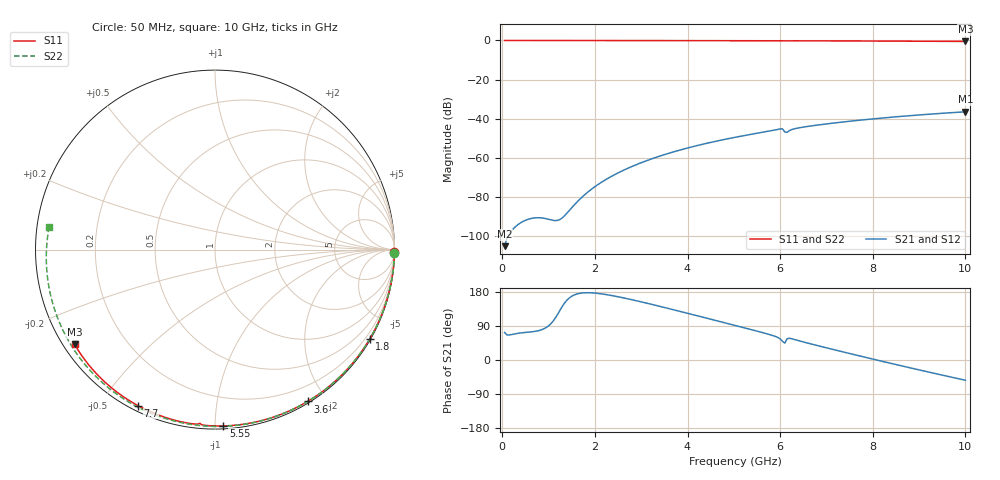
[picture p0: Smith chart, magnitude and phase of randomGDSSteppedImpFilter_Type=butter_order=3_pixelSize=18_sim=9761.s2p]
! freq	dB(S11)	phase(S11)	dB(S12)	phase(S12)
!  dB(S21)	phase(S21)	dB(S22)	phase(S22)
!S-par simulation data
#  GHz  S  DB  R 50
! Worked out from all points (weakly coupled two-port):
!   200 points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, 50 MHz to 10 GHz, reference 50 ohm
!   highest |S21| = -36.52 dB at 10 GHz (marker M1); lowest = -105.3 dB at 50 MHz (marker M2)
!   lowest |S11| = -0.5 dB at 10 GHz (marker M3), VSWR 34.58, Z = 1.58 - j15.3 ohm
!   |S11| at or under -10 dB: nowhere
!   |S22| runs from -0.6 to 0.0 dB; largest |S21 - S12| = 0
!   S11 on the Smith chart (normalised r, x): 50 MHz: open; 1.8 GHz: 0.03, -3.72; 3.6 GHz: 0.02, -1.78; 5.55 GHz: 0.02, -1.05; 7.7 GHz: 0.02, -0.62; 10 GHz: 0.03, -0.31
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0.05  -0.00 -0.9  -105.31 72.6  -105.31 72.6  -0.00 -1.1
0.85  -0.02 -14.4  -90.85 79.9  -90.85 79.9  -0.02 -18.2
1.7  -0.04 -28.4  -80.67 176.5  -80.67 176.5  -0.05 -36.0
1.75  -0.04 -29.2  -79.58 177.1  -79.58 177.1  -0.05 -37.1
1.8  -0.04 -30.1  -78.54 177.5  -78.54 177.5  -0.05 -38.1
2.1  -0.04 -34.9  -73.23 175.2  -73.23 175.2  -0.06 -44.2
2.45  -0.05 -40.6  -68.40 168.1  -68.40 168.1  -0.07 -51.3
2.9  -0.06 -47.7  -63.52 156.3  -63.52 156.3  -0.08 -60.2
3.4  -0.07 -55.5  -59.21 141.6  -59.21 141.6  -0.09 -70.0
3.6  -0.08 -58.6  -57.72 135.6  -57.72 135.6  -0.10 -73.8
4.3  -0.10 -69.2  -53.28 114.0  -53.28 114.0  -0.12 -86.9
5.05  -0.12 -80.2  -49.48 90.5  -49.48 90.5  -0.15 -100.5
5.55  -0.14 -87.3  -47.30 74.6  -47.30 74.6  -0.18 -109.4
6.05  -0.20 -94.5  -45.24 49.5  -45.24 49.5  -0.21 -118.1
6.1  -0.25 -95.0  -46.83 44.4  -46.83 44.4  -0.21 -119.0
6.15  -0.22 -95.4  -47.06 56.0  -47.06 56.0  -0.21 -119.8
6.3  -0.19 -97.5  -45.27 54.3  -45.27 54.3  -0.22 -122.4
6.7  -0.20 -103.0  -43.65 41.3  -43.65 41.3  -0.25 -129.3
7.7  -0.27 -116.3  -40.86 11.2  -40.86 11.2  -0.33 -146.4
8.35  -0.32 -124.8  -39.39 -7.7  -39.39 -7.7  -0.40 -157.7
9.2  -0.41 -135.7  -37.78 -31.7  -37.78 -31.7  -0.50 -172.9
10  -0.50 -146.0  -36.52 -53.4  -36.52 -53.4  -0.60 172.1
